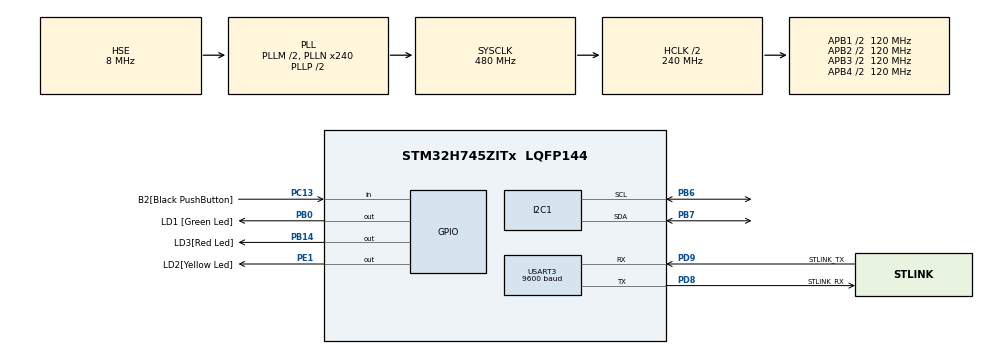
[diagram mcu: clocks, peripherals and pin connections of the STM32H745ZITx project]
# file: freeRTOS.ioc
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CortexM4.IPs=BDMA,CORTEX_M4\:I,DEBUG,DMA,FATFS_M4\:I,FREERTOS_M4\:I,GPIO,IWDG2\:I,MDMA,NVIC2\:I,OPENAMP_M4\:I,PDM2PCM_M4\:I,PWR,RCC,RESMGR_UTILITY,SYS_M4\:I,USB_DEVICE_M4\:I,USB_HOST_M4\:I,VREFBUF,WWDG2\:I,USART3,TIM6\:I
CortexM4.Pins=PE1
CortexM7.IPs=BDMA\:I,CORTEX_M7\:I,DEBUG\:I,DMA\:I,FATFS_M7\:I,FREERTOS_M7\:I,GPIO\:I,IWDG1\:I,MDMA\:I,NVIC1\:I,OPENAMP_M7\:I,PDM2PCM_M7\:I,PWR\:I,RCC\:I,RESMGR_UTILITY\:I,SYS\:I,USB_DEVICE_M7\:I,USB_HOST_M7\:I,VREFBUF\:I,WWDG1\:I,USART3\:I,I2C1\:I,TIM7\:I,TIM17\:I
CortexM7.Pins=PC13,PB0,PB14
FREERTOS_M4.Tasks01=defaultTask,24,128,StartDefaultTask,Default,NULL,Dynamic,NULL,NULL
FREERTOS_M4.configUSE_NEWLIB_REENTRANT=1
FREERTOS_M7.Tasks01=defaultTask,24,256,StartDefaultTask,Default,NULL,Dynamic,NULL,NULL
FREERTOS_M7.configUSE_NEWLIB_REENTRANT=1
I2C1.Timing=0x307075B1
Mcu.Family=STM32H7
Mcu.Name=STM32H745ZITx
Mcu.Package=LQFP144
NVIC1.PriorityGroup=NVIC_PRIORITYGROUP_4
NVIC1.TIM7_IRQn=true\:15\:0\:false\:false\:true\:false\:false\:true\:true
NVIC1.TimeBase=TIM7_IRQn
NVIC1.TimeBaseIP=TIM7
NVIC2.PriorityGroup=NVIC_PRIORITYGROUP_4
NVIC2.TIM6_DAC_IRQn=true\:15\:0\:false\:false\:true\:false\:false\:true\:true
NVIC2.TimeBase=TIM6_DAC_IRQn
NVIC2.TimeBaseIP=TIM6
PB0.GPIO_Label=LD1 [Green Led]
PB0.PinAttribute=CortexM7
PB0.Signal=GPIO_Output
PB14.GPIO_Label=LD3[Red Led]
PB14.PinAttribute=CortexM7
PB14.Signal=GPIO_Output
PB6.Mode=I2C
PB6.PinAttribute=CortexM7
PB6.Signal=I2C1_SCL
PB7.Mode=I2C
PB7.PinAttribute=CortexM7
PB7.Signal=I2C1_SDA
PC13.GPIO_Label=B2[Black PushButton]
PC13.PinAttribute=CortexM7
PC13.Signal=GPIO_Input
PC14-OSC32_IN\ (OSC32_IN).Mode=LSE-External-Oscillator
PC14-OSC32_IN\ (OSC32_IN).PinAttribute=CortexM7
PC14-OSC32_IN\ (OSC32_IN).Signal=RCC_OSC32_IN
PC15-OSC32_OUT\ (OSC32_OUT).Mode=LSE-External-Oscillator
PC15-OSC32_OUT\ (OSC32_OUT).PinAttribute=CortexM7
PC15-OSC32_OUT\ (OSC32_OUT).Signal=RCC_OSC32_OUT
PD8.GPIO_Label=STLINK_RX
PD8.Mode=Asynchronous
PD8.PinAttribute=CortexM7
PD8.Signal=USART3_TX
PD9.GPIO_Label=STLINK_TX
PD9.Mode=Asynchronous
PD9.PinAttribute=CortexM7
PD9.Signal=USART3_RX
PE1.GPIO_Label=LD2[Yellow Led]
PE1.PinAttribute=CortexM4
PE1.Signal=GPIO_Output
PH0-OSC_IN\ (PH0).Mode=HSE-External-Clock-Source
PH0-OSC_IN\ (PH0).PinAttribute=CortexM7
PH0-OSC_IN\ (PH0).Signal=RCC_OSC_IN
ProjectManager.HeapSize=M4-0x200,M7-0x200
ProjectManager.StackSize=M4-0x400,M7-0x400
ProjectManager.TargetToolchain=STM32CubeIDE
RCC.ADCFreq_Value=16125000
RCC.APB1Freq_Value=120000000
RCC.APB2Freq_Value=120000000
RCC.APB3Freq_Value=120000000
RCC.APB4Freq_Value=120000000
RCC.CortexFreq_Value=480000000
RCC.D1PPRE=RCC_APB3_DIV2
RCC.D2PPRE1=RCC_APB1_DIV2
RCC.D2PPRE2=RCC_APB2_DIV2
RCC.D3PPRE=RCC_APB4_DIV2
RCC.DIVM1=2
RCC.DIVN1=240
RCC.HCLKFreq_Value=240000000
RCC.HPRE=RCC_HCLK_DIV2
RCC.HSE_VALUE=8000000
RCC.PLLSourceVirtual=RCC_PLLSOURCE_HSE
RCC.SYSCLKFreq_VALUE=480000000
RCC.SYSCLKSource=RCC_SYSCLKSOURCE_PLLCLK
RCC.USBFreq_Value=480000000
SYS.userName=SYS_M7
TIM17.Prescaler=65535
USART3.BaudRate=9600
USART3.Parity=PARITY_NONE
USART3.StopBits=STOPBITS_1
USART3.VirtualMode-Asynchronous=VM_ASYNC
VP_FREERTOS_M4_VS_CMSIS_V2.Mode=CMSIS_V2
VP_FREERTOS_M7_VS_CMSIS_V2.Mode=CMSIS_V2
VP_SYS_M4_VS_tim6.Mode=TIM6
VP_SYS_VS_tim7.Mode=TIM7
VP_TIM17_VS_ClockSourceINT.Mode=Enable_Timer
board=custom

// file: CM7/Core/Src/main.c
/* USER CODE BEGIN Header */
/**
  ******************************************************************************
  * @file           : main.c
  * @brief          : Main program body
  ******************************************************************************
  * @attention
  *
  * Copyright (c) 2022 STMicroelectronics.
  * All rights reserved.
  *
  * This software is licensed under terms that can be found in the LICENSE file
  * in the root directory of this software component.
  * If no LICENSE file comes with this software, it is provided AS-IS.
  *
  ******************************************************************************
  */
/* USER CODE END Header */
#include "main.h"
#include "cmsis_os.h"

/* USER CODE BEGIN PD */

#ifndef HSEM_ID_0
#define HSEM_ID_0 (0U) /* HW semaphore 0*/
#endif
/* USER CODE END PD */

I2C_HandleTypeDef hi2c1;

TIM_HandleTypeDef htim17;

UART_HandleTypeDef huart3;

/* Definitions for defaultTask */
osThreadId_t defaultTaskHandle;
const osThreadAttr_t defaultTask_attributes = {
  .name = "defaultTask",
  .stack_size = 256 * 4,
  .priority = (osPriority_t) osPriorityNormal,
};

void SystemClock_Config(void);
static void MX_GPIO_Init(void);
static void MX_USART3_UART_Init(void);
static void MX_I2C1_Init(void);
static void MX_TIM17_Init(void);
void StartDefaultTask(void *argument);

int main(void)
{
/* USER CODE BEGIN Boot_Mode_Sequence_0 */
  int32_t timeout;
/* USER CODE END Boot_Mode_Sequence_0 */

/* USER CODE BEGIN Boot_Mode_Sequence_1 */
  /* Wait until CPU2 boots and enters in stop mode or timeout*/
  timeout = 0xFFFF;
  while((__HAL_RCC_GET_FLAG(RCC_FLAG_D2CKRDY) != RESET) && (timeout-- > 0));
  if ( timeout < 0 )
  {
  Error_Handler();
  }
/* USER CODE END Boot_Mode_Sequence_1 */
  /* MCU Configuration--------------------------------------------------------*/

  /* Reset of all peripherals, Initializes the Flash interface and the Systick. */
  HAL_Init();

  /* Configure the system clock */
  SystemClock_Config();
/* USER CODE BEGIN Boot_Mode_Sequence_2 */
/* When system initialization is finished, Cortex-M7 will release Cortex-M4 by means of
HSEM notification */
/*HW semaphore Clock enable*/
__HAL_RCC_HSEM_CLK_ENABLE();
/*Take HSEM */
HAL_HSEM_FastTake(HSEM_ID_0);
/*Release HSEM in order to notify the CPU2(CM4)*/
HAL_HSEM_Release(HSEM_ID_0,0);
/* wait until CPU2 wakes up from stop mode */
timeout = 0xFFFF;
while((__HAL_RCC_GET_FLAG(RCC_FLAG_D2CKRDY) == RESET) && (timeout-- > 0));
if ( timeout < 0 )
{
Error_Handler();
}
/* USER CODE END Boot_Mode_Sequence_2 */

  /* Initialize all configured peripherals */
  MX_GPIO_Init();
  MX_USART3_UART_Init();
  MX_I2C1_Init();
  MX_TIM17_Init();

  /* Init scheduler */
  osKernelInitialize();

  /* Create the thread(s) */
  /* creation of defaultTask */
  defaultTaskHandle = osThreadNew(StartDefaultTask, NULL, &defaultTask_attributes);

  /* Start scheduler */
  osKernelStart();

  /* We should never get here as control is now taken by the scheduler */
  /* Infinite loop */
  while (1)
  {

  }
}

void SystemClock_Config(void)
{
  RCC_OscInitTypeDef RCC_OscInitStruct = {0};
  RCC_ClkInitTypeDef RCC_ClkInitStruct = {0};

  /** Supply configuration update enable
  */
  HAL_PWREx_ConfigSupply(PWR_DIRECT_SMPS_SUPPLY);

  /** Configure the main internal regulator output voltage
  */
  __HAL_PWR_VOLTAGESCALING_CONFIG(PWR_REGULATOR_VOLTAGE_SCALE0);

  while(!__HAL_PWR_GET_FLAG(PWR_FLAG_VOSRDY)) {}

  /** Initializes the RCC Oscillators according to the specified parameters
  * in the RCC_OscInitTypeDef structure.
  */
  RCC_OscInitStruct.OscillatorType = RCC_OSCILLATORTYPE_HSE;
  RCC_OscInitStruct.HSEState = RCC_HSE_BYPASS;
  RCC_OscInitStruct.PLL.PLLState = RCC_PLL_ON;
  RCC_OscInitStruct.PLL.PLLSource = RCC_PLLSOURCE_HSE;
  RCC_OscInitStruct.PLL.PLLM = 2;
  RCC_OscInitStruct.PLL.PLLN = 240;
  RCC_OscInitStruct.PLL.PLLP = 2;
  RCC_OscInitStruct.PLL.PLLQ = 2;
  RCC_OscInitStruct.PLL.PLLR = 2;
  RCC_OscInitStruct.PLL.PLLRGE = RCC_PLL1VCIRANGE_2;
  RCC_OscInitStruct.PLL.PLLVCOSEL = RCC_PLL1VCOWIDE;
  RCC_OscInitStruct.PLL.PLLFRACN = 0;
  if (HAL_RCC_OscConfig(&RCC_OscInitStruct) != HAL_OK)
  {
    Error_Handler();
  }

  /** Initializes the CPU, AHB and APB buses clocks
  */
  RCC_ClkInitStruct.ClockType = RCC_CLOCKTYPE_HCLK|RCC_CLOCKTYPE_SYSCLK
                              |RCC_CLOCKTYPE_PCLK1|RCC_CLOCKTYPE_PCLK2
                              |RCC_CLOCKTYPE_D3PCLK1|RCC_CLOCKTYPE_D1PCLK1;
  RCC_ClkInitStruct.SYSCLKSource = RCC_SYSCLKSOURCE_PLLCLK;
  RCC_ClkInitStruct.SYSCLKDivider = RCC_SYSCLK_DIV1;
  RCC_ClkInitStruct.AHBCLKDivider = RCC_HCLK_DIV2;
  RCC_ClkInitStruct.APB3CLKDivider = RCC_APB3_DIV2;
  RCC_ClkInitStruct.APB1CLKDivider = RCC_APB1_DIV2;
  RCC_ClkInitStruct.APB2CLKDivider = RCC_APB2_DIV2;
  RCC_ClkInitStruct.APB4CLKDivider = RCC_APB4_DIV2;

  if (HAL_RCC_ClockConfig(&RCC_ClkInitStruct, FLASH_LATENCY_4) != HAL_OK)
  {
    Error_Handler();
  }
}

static void MX_I2C1_Init(void)
{

  hi2c1.Instance = I2C1;
  hi2c1.Init.Timing = 0x307075B1;
  hi2c1.Init.OwnAddress1 = 0;
  hi2c1.Init.AddressingMode = I2C_ADDRESSINGMODE_7BIT;
  hi2c1.Init.DualAddressMode = I2C_DUALADDRESS_DISABLE;
  hi2c1.Init.OwnAddress2 = 0;
  hi2c1.Init.OwnAddress2Masks = I2C_OA2_NOMASK;
  hi2c1.Init.GeneralCallMode = I2C_GENERALCALL_DISABLE;
  hi2c1.Init.NoStretchMode = I2C_NOSTRETCH_DISABLE;
  if (HAL_I2C_Init(&hi2c1) != HAL_OK)
  {
    Error_Handler();
  }

  /** Configure Analogue filter
  */
  if (HAL_I2CEx_ConfigAnalogFilter(&hi2c1, I2C_ANALOGFILTER_ENABLE) != HAL_OK)
  {
    Error_Handler();
  }

  /** Configure Digital filter
  */
  if (HAL_I2CEx_ConfigDigitalFilter(&hi2c1, 0) != HAL_OK)
  {
    Error_Handler();
  }

}

static void MX_TIM17_Init(void)
{

  htim17.Instance = TIM17;
  htim17.Init.Prescaler = 65535;
  htim17.Init.CounterMode = TIM_COUNTERMODE_UP;
  htim17.Init.Period = 65535;
  htim17.Init.ClockDivision = TIM_CLOCKDIVISION_DIV1;
  htim17.Init.RepetitionCounter = 0;
  htim17.Init.AutoReloadPreload = TIM_AUTORELOAD_PRELOAD_DISABLE;
  if (HAL_TIM_Base_Init(&htim17) != HAL_OK)
  {
    Error_Handler();
  }

}

static void MX_USART3_UART_Init(void)
{

  huart3.Instance = USART3;
  huart3.Init.BaudRate = 9600;
  huart3.Init.WordLength = UART_WORDLENGTH_8B;
  huart3.Init.StopBits = UART_STOPBITS_1;
  huart3.Init.Parity = UART_PARITY_NONE;
  huart3.Init.Mode = UART_MODE_TX_RX;
  huart3.Init.HwFlowCtl = UART_HWCONTROL_NONE;
  huart3.Init.OverSampling = UART_OVERSAMPLING_16;
  huart3.Init.OneBitSampling = UART_ONE_BIT_SAMPLE_DISABLE;
  huart3.Init.ClockPrescaler = UART_PRESCALER_DIV1;
  huart3.AdvancedInit.AdvFeatureInit = UART_ADVFEATURE_NO_INIT;
  if (HAL_UART_Init(&huart3) != HAL_OK)
  {
    Error_Handler();
  }
  if (HAL_UARTEx_SetTxFifoThreshold(&huart3, UART_TXFIFO_THRESHOLD_1_8) != HAL_OK)
  {
    Error_Handler();
  }
  if (HAL_UARTEx_SetRxFifoThreshold(&huart3, UART_RXFIFO_THRESHOLD_1_8) != HAL_OK)
  {
    Error_Handler();
  }
  if (HAL_UARTEx_DisableFifoMode(&huart3) != HAL_OK)
  {
    Error_Handler();
  }

}

static void MX_GPIO_Init(void)
{
  GPIO_InitTypeDef GPIO_InitStruct = {0};

  /* GPIO Ports Clock Enable */
  __HAL_RCC_GPIOC_CLK_ENABLE();
  __HAL_RCC_GPIOH_CLK_ENABLE();
  __HAL_RCC_GPIOB_CLK_ENABLE();
  __HAL_RCC_GPIOD_CLK_ENABLE();

  /*Configure GPIO pin Output Level */
  HAL_GPIO_WritePin(GPIOB, LD1_Pin|LD3_Pin, GPIO_PIN_RESET);

  /*Configure GPIO pin : B2_Pin */
  GPIO_InitStruct.Pin = B2_Pin;
  GPIO_InitStruct.Mode = GPIO_MODE_INPUT;
  GPIO_InitStruct.Pull = GPIO_NOPULL;
  HAL_GPIO_Init(B2_GPIO_Port, &GPIO_InitStruct);

  /*Configure GPIO pins : LD1_Pin LD3_Pin */
  GPIO_InitStruct.Pin = LD1_Pin|LD3_Pin;
  GPIO_InitStruct.Mode = GPIO_MODE_OUTPUT_PP;
  GPIO_InitStruct.Pull = GPIO_NOPULL;
  GPIO_InitStruct.Speed = GPIO_SPEED_FREQ_LOW;
  HAL_GPIO_Init(GPIOB, &GPIO_InitStruct);

}

void StartDefaultTask(void *argument)
{
  /* USER CODE BEGIN 5 */
	HAL_TIM_Base_Start(&htim17);
	long cantidadIntervalos = 10000000;
	double baseIntervalo;
	double fdx;
	double acum = 0;

	double x;
	long i;
	baseIntervalo = 1.0 / cantidadIntervalos;

	uint16_t start_t = __HAL_TIM_GET_COUNTER(&htim17);

	for (i = 0, x = 0.0; i < cantidadIntervalos; i++) {
			fdx = 4 / (1 + x * x);
			acum = acum + (fdx * baseIntervalo);
			x = x + baseIntervalo;
	}
	uint16_t end_t = __HAL_TIM_GET_COUNTER(&htim17);
	uint16_t total_t = end_t - start_t;
	printf("Resultado=%f (%f seconds)\r\n", acum, ((float)total_t * 65535.0)/240000000.0);
  /* Infinite loop */
  for(;;)
  {
	//printf("Hello from FreeRTOS STM32H7 world!!\r\n");
	HAL_GPIO_TogglePin(LD1_GPIO_Port, LD1_Pin);
    osDelay(1000);
  }
  /* USER CODE END 5 */
}

void HAL_TIM_PeriodElapsedCallback(TIM_HandleTypeDef *htim)
{
  if (htim->Instance == TIM7) {
    HAL_IncTick();
  }
}

void Error_Handler(void)
{
  __disable_irq();
  while (1)
  {
  }
}
